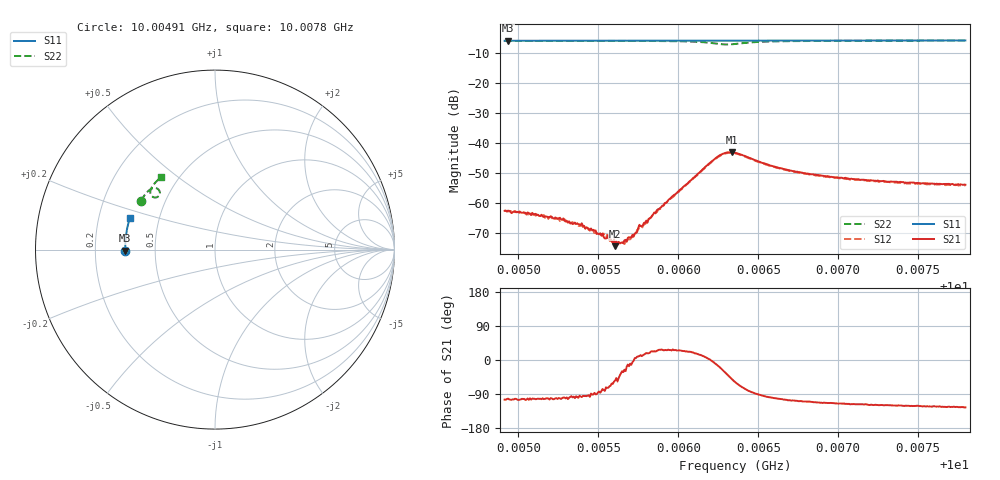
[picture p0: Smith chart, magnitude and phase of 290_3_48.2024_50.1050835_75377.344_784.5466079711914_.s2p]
#  HZ  S  RI  R  50.00
! Rohde & Schwarz Vector Network Analyzer
! Rohde-Schwarz,ZNB20-2Port,1311601062101988,3.16
! Created: UTC 3/20/2024, 11:49:03 AM
! freq[Hz]  re:S11  im:S11  re:S21  im:S21  re:S12  im:S12  re:S22  im:S22
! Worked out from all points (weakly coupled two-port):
!   401 points, 10.00491 GHz to 10.0078 GHz, reference 50 ohm
!   highest |S21| = -43.07 dB at 10.00633 GHz (marker M1); lowest = -74.3 dB at 10.0056 GHz (marker M2)
!   lowest |S11| = -6.0 dB at 10.00493 GHz (marker M3), VSWR 3.00, Z = 16.7 - j0.285 ohm
!   |S11| at or under -10 dB: nowhere
!   |S22| runs from -7.3 to -6.0 dB; largest |S21 - S12| = 0.00041
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1.0004913e10  -0.4994 -0.00765  -0.000188 -0.00072  -0.000143 -0.000731  -0.4122 0.2729
1.0004935e10  -0.4994 -0.0064  -0.000155 -0.000734  -0.00014 -0.000718  -0.4115 0.2741
1.0005144e10  -0.4999 0.0073  -0.000148 -0.000623  -9.13e-05 -0.000625  -0.4037 0.2866
1.0005266e10  -0.4998 0.0152  -0.000119 -0.000527  -7.25e-05 -0.000514  -0.3989 0.2938
1.0005324e10  -0.5 0.019  -5.94e-05 -0.000455  -6.36e-05 -0.000486  -0.3966 0.2973
1.0005396e10  -0.4998 0.0236  -6.15e-05 -0.000458  -2.3e-05 -0.000429  -0.3934 0.3015
1.000554e10  -0.4997 0.0329  3.77e-05 -0.000256  6.6e-05 -0.000272  -0.3868 0.3103
1.0005576e10  -0.4996 0.0353  8.99e-05 -0.00022  9.85e-05 -0.000231  -0.3849 0.3125
1.0005605e10  -0.4994 0.0371  0.000113 -0.000156  0.000154 -0.00017  -0.3834 0.3144
1.0005648e10  -0.4994 0.04  0.000191 -0.000109  0.000192 -0.00011  -0.3811 0.3171
1.0005706e10  -0.4992 0.0437  0.000266 -5.88e-05  0.000267 -1.68e-05  -0.3779 0.3206
1.0005727e10  -0.4988 0.0451  0.000311 2.71e-05  0.000308 5.57e-06  -0.3764 0.322
1.0005763e10  -0.499 0.0473  0.000404 9.24e-05  0.000366 7.54e-05  -0.3743 0.3243
1.0005879e10  -0.4983 0.0549  0.000713 0.000362  0.000691 0.000384  -0.3658 0.3318
1.0006225e10  -0.4956 0.0771  0.00533 -0.00067  0.00521 -0.0004  -0.3104 0.3288
1.0006282e10  -0.495 0.0806  0.00586 -0.00318  0.00589 -0.00285  -0.3089 0.3065
1.0006333e10  -0.4946 0.0836  0.00452 -0.00537  0.00469 -0.00499  -0.324 0.2916
1.0006354e10  -0.4946 0.0849  0.00362 -0.00582  0.00385 -0.00554  -0.3325 0.29
1.0006585e10  -0.4927 0.0996  -0.000678 -0.0041  -0.000501 -0.00404  -0.36 0.3272
1.0006837e10  -0.4898 0.1156  -0.00106 -0.00282  -0.000912 -0.00277  -0.3494 0.3519
1.000732e10  -0.4828 0.1459  -0.0011 -0.00196  -0.000997 -0.00199  -0.3253 0.3809
1.0007795e10  -0.4739 0.1753  -0.00116 -0.00166  -0.00105 -0.00168  -0.3013 0.4031
